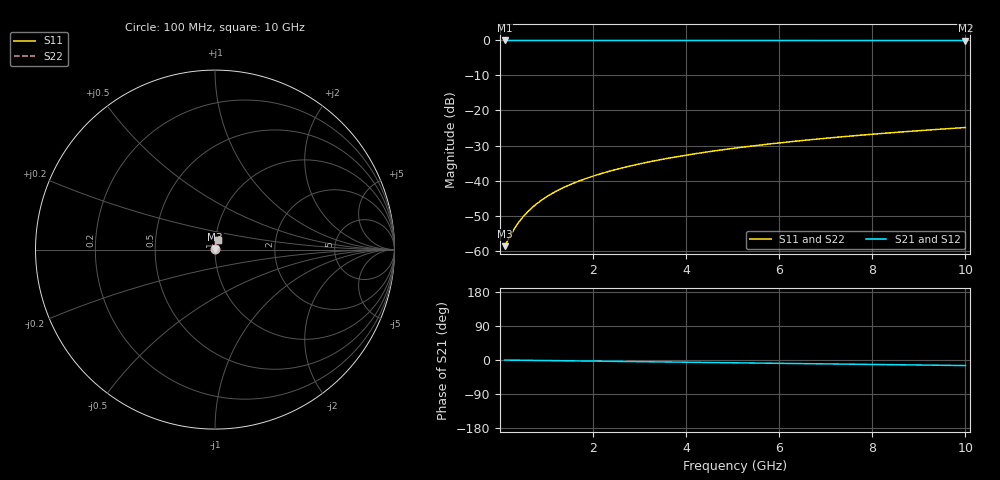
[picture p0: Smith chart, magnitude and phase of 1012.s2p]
# Hz S RI R 50.00
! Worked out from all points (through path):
!   100 points, 100 MHz to 10 GHz, reference 50 ohm
!   highest |S21| = -0.01 dB at 100 MHz (marker M1); lowest = 0.0 dB at 10 GHz (marker M2)
!   group delay of S21, straight-line fit = 4.07 ps
!   lowest |S11| = -58.7 dB at 100 MHz (marker M3), VSWR 1.00, Z = 50.1 + j0.0575 ohm
!   |S11| at or under -10 dB: start of sweep to end of sweep
!   |S22| runs from -58.7 to -24.9 dB; largest |S21 - S12| = 0
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1e8  0.001 0.000573  0.999 -0.00254  0.999 -0.00254  0.001 0.000573
3e8  0.00103 0.00172  0.9989 -0.00763  0.9989 -0.00763  0.00103 0.00172
4e8  0.00104 0.00229  0.9989 -0.0102  0.9989 -0.0102  0.00104 0.00229
5e8  0.00106 0.00287  0.9989 -0.0127  0.9989 -0.0127  0.00106 0.00287
6e8  0.00107 0.00344  0.9988 -0.0153  0.9988 -0.0153  0.00107 0.00344
7e8  0.00109 0.00401  0.9988 -0.0178  0.9988 -0.0178  0.00109 0.00401
8e8  0.00112 0.00459  0.9987 -0.0204  0.9987 -0.0204  0.00112 0.00459
9e8  0.00114 0.00516  0.9987 -0.0229  0.9987 -0.0229  0.00114 0.00516
1e9  0.00117 0.00573  0.9986 -0.0254  0.9986 -0.0254  0.00117 0.00573
1.2e9  0.00124 0.00688  0.9985 -0.0305  0.9985 -0.0305  0.00124 0.00688
1.5e9  0.00136 0.00859  0.9982 -0.0382  0.9982 -0.0382  0.00136 0.00859
1.8e9  0.00151 0.0103  0.9978 -0.0458  0.9978 -0.0458  0.00151 0.0103
2.1e9  0.00168 0.012  0.9974 -0.0534  0.9974 -0.0534  0.00168 0.012
2.5e9  0.00195 0.0143  0.9968 -0.0636  0.9968 -0.0636  0.00195 0.0143
2.9e9  0.00227 0.0166  0.996 -0.0738  0.996 -0.0738  0.00227 0.0166
3.4e9  0.00273 0.0194  0.995 -0.0865  0.995 -0.0865  0.00273 0.0194
4.2e9  0.00362 0.0239  0.9929 -0.1068  0.9929 -0.1068  0.00362 0.0239
5.1e9  0.00484 0.0289  0.99 -0.1296  0.99 -0.1296  0.00484 0.0289
5.9e9  0.00611 0.0333  0.987 -0.1498  0.987 -0.1498  0.00611 0.0333
6.7e9  0.00757 0.0377  0.9835 -0.17  0.9835 -0.17  0.00757 0.0377
8.4e9  0.0113 0.0467  0.9747 -0.2126  0.9747 -0.2126  0.0113 0.0467
1e10  0.0155 0.055  0.9646 -0.2524  0.9646 -0.2524  0.0155 0.055
